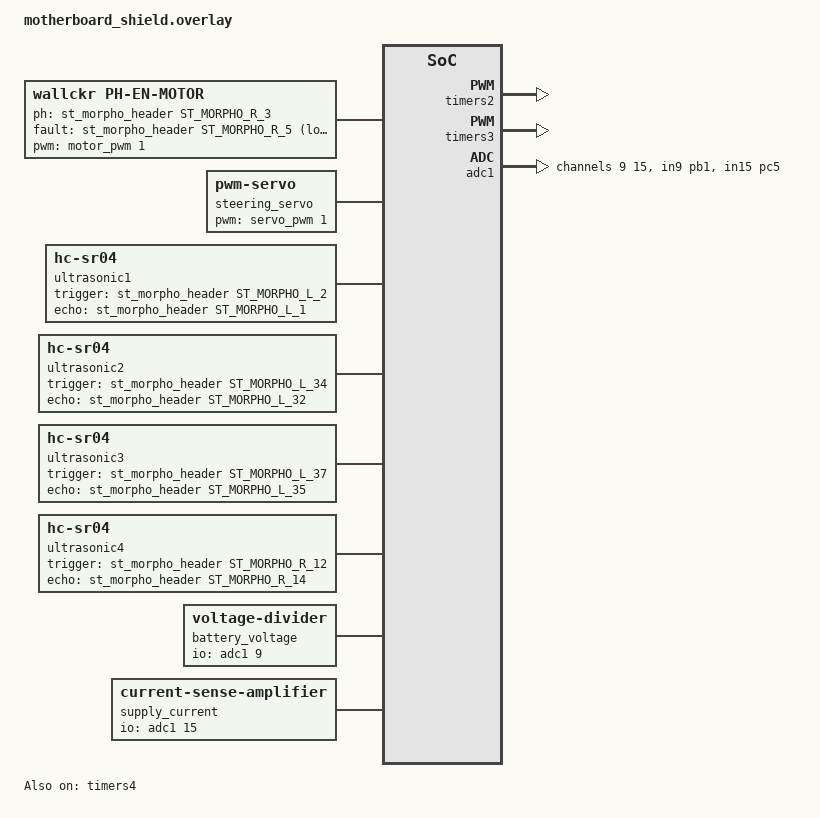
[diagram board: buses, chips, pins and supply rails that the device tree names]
/*
 * wallckr-z2 motherboard, plugged into the Nucleo's Morpho headers
 * (J11 = CN7 = ST_MORPHO_L_*, J12 = CN10 = ST_MORPHO_R_*).
 *
 * Pin mapping follows kicad/motherboard (pad nets of J11/J12). Note that
 * sensors 1, 3 and 4 have TRIG/ECHO swapped compared with the pin table in
 * docs/DESIGN_NOTES.md; the KiCad design is taken as authoritative here.
 */

#include <zephyr/dt-bindings/gpio/st-morpho-header.h>
#include <zephyr/dt-bindings/adc/adc.h>
#include <zephyr/dt-bindings/pwm/pwm.h>

/ {
	/* Pololu DRV8874 carrier (J6/J9), PH/EN mode. */
	motor: motor {
		compatible = "wallckr,ph-en-motor";
		/* 25 kHz: above the audible range, well within DRV8874 limits. */
		pwms = <&motor_pwm 1 PWM_USEC(40) PWM_POLARITY_NORMAL>;
		ph-gpios = <&st_morpho_header ST_MORPHO_R_3 GPIO_ACTIVE_HIGH>; /* PB8 */
		fault-gpios = <&st_morpho_header ST_MORPHO_R_5 GPIO_ACTIVE_LOW>; /* PB9, R4 pull-up */
	};

	/* Hitec HS-422 on J7. Pulse range matches the Arduino Servo library
	 * defaults v1 used, so v1's angle calibration carries over.
	 */
	steering_servo: steering_servo {
		compatible = "pwm-servo";
		pwms = <&servo_pwm 1 PWM_MSEC(20) PWM_POLARITY_NORMAL>;
		min-pulse = <PWM_USEC(544)>;
		max-pulse = <PWM_USEC(2400)>;
	};

	/* HY-SRF05 sensors on J2..J5 (HC-SR04 compatible pinout/timing).
	 * ECHO is pulled down so an unplugged sensor reads as "no echo".
	 */
	ultrasonic1: ultrasonic1 {
		compatible = "hc-sr04";
		trigger-gpios = <&st_morpho_header ST_MORPHO_L_2 GPIO_ACTIVE_HIGH>; /* PC11 */
		echo-gpios = <&st_morpho_header ST_MORPHO_L_1 (GPIO_ACTIVE_HIGH | GPIO_PULL_DOWN)>; /* PC10 */
	};

	ultrasonic2: ultrasonic2 {
		compatible = "hc-sr04";
		trigger-gpios = <&st_morpho_header ST_MORPHO_L_34 GPIO_ACTIVE_HIGH>; /* PB0 */
		echo-gpios = <&st_morpho_header ST_MORPHO_L_32 (GPIO_ACTIVE_HIGH | GPIO_PULL_DOWN)>; /* PA4 */
	};

	ultrasonic3: ultrasonic3 {
		compatible = "hc-sr04";
		trigger-gpios = <&st_morpho_header ST_MORPHO_L_37 GPIO_ACTIVE_HIGH>; /* PC3 */
		echo-gpios = <&st_morpho_header ST_MORPHO_L_35 (GPIO_ACTIVE_HIGH | GPIO_PULL_DOWN)>; /* PC2 */
	};

	/* PA12/PA11 double as USART6 RX/TX if sensor 4 is ever given up. */
	ultrasonic4: ultrasonic4 {
		compatible = "hc-sr04";
		trigger-gpios = <&st_morpho_header ST_MORPHO_R_12 GPIO_ACTIVE_HIGH>; /* PA12 */
		echo-gpios = <&st_morpho_header ST_MORPHO_R_14 (GPIO_ACTIVE_HIGH | GPIO_PULL_DOWN)>; /* PA11 */
	};

	/* R1 = 300k, R2 = 75k (1/5), as fitted on the board. The schematic
	 * still says R1 = 360k, which is a schematic error.
	 */
	battery_voltage: battery_voltage {
		compatible = "voltage-divider";
		io-channels = <&adc1 9>;
		output-ohms = <75000>;
		full-ohms = <(300000 + 75000)>;
	};

	/* INA169 (1 mA/V) across Rsense1 = 100 mOhm, load R3 = 16k5:
	 * gain = 1 mA/V * 16.5 kOhm = 33 / 2.
	 */
	supply_current: supply_current {
		compatible = "current-sense-amplifier";
		io-channels = <&adc1 15>;
		sense-resistor-milli-ohms = <100>;
		sense-gain-mult = <33>;
		sense-gain-div = <2>;
	};

	/* The board's PWM LED sits on TIM2 CH1, which now drives motor EN. */
	aliases {
		/delete-property/ pwm-led0;
	};
};

/delete-node/ &green_pwm_led;

/* EN on PA15. TIM2 is 32 bit, so no prescaler is needed. */
&timers2 {
	status = "okay";

	motor_pwm: pwm {
		status = "okay";
		pinctrl-0 = <&tim2_ch1_pa15>;
		pinctrl-names = "default";
	};
};

/* Servo on PB4. 84 MHz / (83 + 1) = 1 MHz, so a 20 ms period fits in 16 bit. */
&timers3 {
	status = "okay";
	st,prescaler = <83>;

	servo_pwm: pwm {
		status = "okay";
		pinctrl-0 = <&tim3_ch1_pb4>;
		pinctrl-names = "default";
	};
};

/* Hall-probe quadrature encoder on J10 (PB6 / PB7). */
&timers4 {
	status = "okay";

	encoder: qdec {
		status = "okay";
		pinctrl-0 = <&tim4_ch1_pb6 &tim4_ch2_pb7>;
		pinctrl-names = "default";
		st,input-filter-level = <15>;
		/* Placeholder until the custom encoder is characterised on the
		 * real motor; only raw counts are used for now.
		 */
		st,counts-per-revolution = <4>;
	};
};

/* Battery voltage on PB1 (IN9), supply current on PC5 (IN15). The board
 * default routes IN0/PA0 instead, which is the BLE shield's IRQ line.
 */
&adc1 {
	pinctrl-0 = <&adc1_in9_pb1 &adc1_in15_pc5>;
	#address-cells = <1>;
	#size-cells = <0>;

	channel@9 {
		reg = <9>;
		zephyr,gain = "ADC_GAIN_1";
		zephyr,reference = "ADC_REF_INTERNAL";
		zephyr,acquisition-time = <ADC_ACQ_TIME(ADC_ACQ_TIME_TICKS, 480)>;
		zephyr,resolution = <12>;
	};

	channel@f {
		reg = <15>;
		zephyr,gain = "ADC_GAIN_1";
		zephyr,reference = "ADC_REF_INTERNAL";
		zephyr,acquisition-time = <ADC_ACQ_TIME(ADC_ACQ_TIME_TICKS, 480)>;
		zephyr,resolution = <12>;
	};
};

/* Board defaults that claim motherboard pins: USART1 on PB6/PB7 (encoder),
 * I2C1 on PB8/PB9 (motor PH/FLT).
 */
&usart1 {
	status = "disabled";
};

&i2c1 {
	status = "disabled";
};
